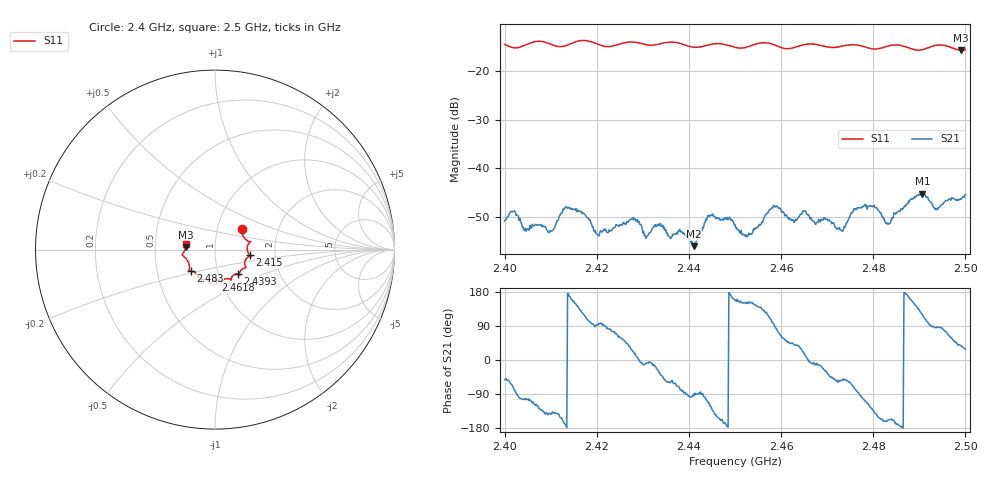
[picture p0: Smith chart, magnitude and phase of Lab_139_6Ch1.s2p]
# Hz S RI R 50
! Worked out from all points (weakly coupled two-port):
!   601 points, 2.4 GHz to 2.5 GHz, reference 50 ohm
!   highest |S21| = -45.19 dB at 2.4907 GHz (marker M1); lowest = -56.0 dB at 2.441 GHz (marker M2)
!   lowest |S11| = -15.7 dB at 2.499 GHz (marker M3), VSWR 1.39, Z = 35.9 + j1.12 ohm
!   |S11| at or under -10 dB: start of sweep to end of sweep
!   S12 and S22 are empty: the file has one direction only
!   S11 on the Smith chart (normalised r, x): 2.4 GHz: 1.31, +0.31; 2.415 GHz: 1.48, -0.10; 2.4393 GHz: 1.23, -0.35; 2.4618 GHz: 0.95, -0.33; 2.483 GHz: 0.74, -0.18; 2.5 GHz: 0.72, +0.05
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2.4e9  0.1503 0.1131  0.00179 -0.00226  0 0  0 0
2.409833e9  0.1878 0.0337  -0.00175 -0.00146  0 0  0 0
2.415e9  0.1944 -0.0317  -0.00345 0.00161  0 0  0 0
2.416667e9  0.2031 -0.0376  -0.00215 0.0029  0 0  0 0
2.42e9  0.1872 -0.0393  -0.000134 0.00212  0 0  0 0
2.433333e9  0.1365 -0.1313  0.00237 -0.00124  0 0  0 0
2.439333e9  0.1254 -0.1354  -2.15e-05 -0.00194  0 0  0 0
2.441e9  0.1096 -0.1383  -1.04e-05 -0.00159  0 0  0 0
2.444667e9  0.089 -0.1661  -0.00177 -0.00282  0 0  0 0
2.45e9  0.0695 -0.1618  -0.00248 0.000943  0 0  0 0
2.453167e9  0.0415 -0.176  -0.00182 0.000996  0 0  0 0
2.458667e9  0.0395 -0.1811  0.000152 0.00407  0 0  0 0
2.461833e9  0.00416 -0.1709  0.00212 0.00206  0 0  0 0
2.466667e9  -0.0261 -0.1888  0.00289 -0.000449  0 0  0 0
2.473e9  -0.0716 -0.1649  0.00136 -0.00187  0 0  0 0
2.479667e9  -0.103 -0.1353  -0.00249 -0.00327  0 0  0 0
2.483e9  -0.1358 -0.1182  -0.00261 -0.000861  0 0  0 0
2.483333e9  -0.1385 -0.118  -0.00253 -0.00101  0 0  0 0
2.490667e9  -0.1559 -0.0579  -0.00273 0.00478  0 0  0 0
2.493667e9  -0.1819 -0.032  0.000327 0.00386  0 0  0 0
2.499e9  -0.1636 0.0151  0.00379 0.00293  0 0  0 0
2.5e9  -0.1633 0.0329  0.00476 0.0025  0 0  0 0
